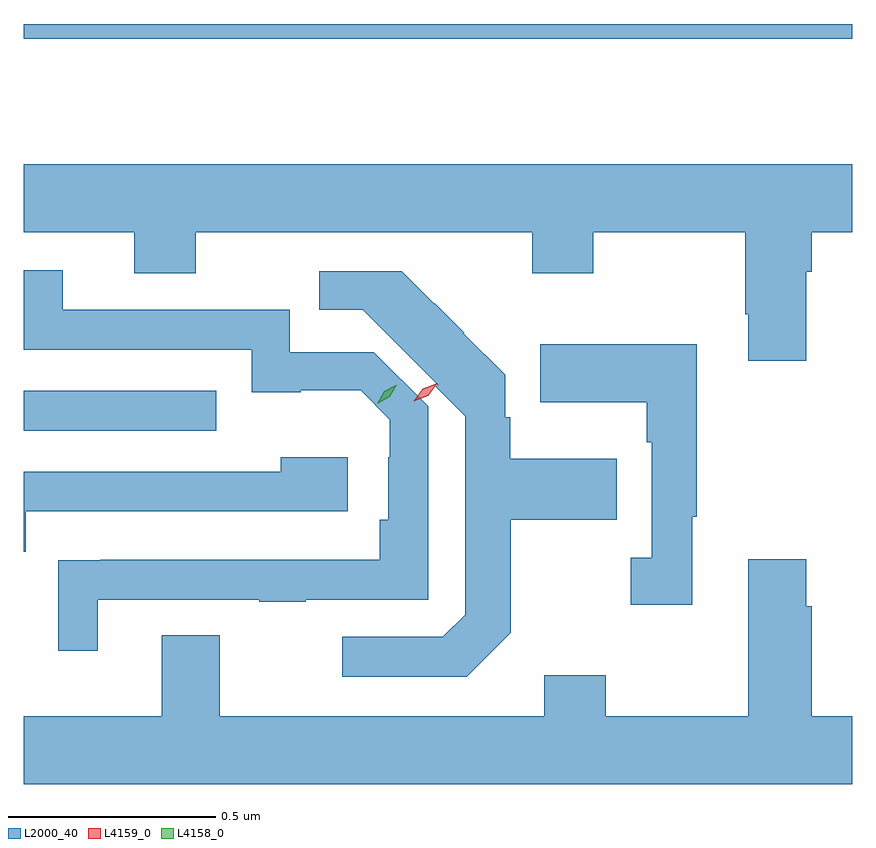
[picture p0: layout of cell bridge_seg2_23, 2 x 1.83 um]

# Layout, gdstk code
import gdstk
lib = gdstk.Library(unit=1e-6, precision=1e-09)
def R(c, l, rs):  # rectangles x0, y0, x1, y1
    for r in rs: c.add(gdstk.rectangle(r[:2], r[2:], *l))
def P(c, l, *ps):  # polygons
    for p in ps: c.add(gdstk.Polygon(p, *l))
L2000_40 = (2000, 40)
L4158_0 = (4158, 0)
L4159_0 = (4159, 0)

bridge_seg2_23 = lib.new_cell('bridge_seg2_23')
R(bridge_seg2_23, L2000_40, [(733.622,616.521,734.087,616.617), (733.622,617.466,735.622,617.502)])
P(bridge_seg2_23, L2000_40, [(735.511,616.904),(735.524,616.904),(735.524,617),(735.622,617),(735.622,617.164),(733.622,617.164),(733.622,617),(733.889,617),(733.889,616.901),(734.037,616.901),(734.037,617),(734.849,617),(734.849,616.901),(734.997,616.901),(734.997,617),(735.364,617),(735.364,616.801),(735.371,616.801),(735.371,616.689),(735.511,616.689)],
  [(733.801,616.113),(734.191,616.113),(734.191,616.108),(734.303,616.108),(734.303,616.113),(734.598,616.113),(734.598,616.579),(734.467,616.71),(734.264,616.71),(734.264,616.812),(733.717,616.812),(733.717,616.908),(733.622,616.908),(733.622,616.716),(734.172,616.716),(734.172,616.613),(734.291,616.613),(734.291,616.618),(734.435,616.618),(734.506,616.547),(734.506,616.457),(734.502,616.457),(734.502,616.306),(734.482,616.306),(734.482,616.209),(733.807,616.209),(733.807,616.208),(733.705,616.208),(733.705,615.99),(733.801,615.99)],
  [(734.797,616.033),(734.797,616.306),(735.053,616.306),(735.053,616.453),(734.796,616.453),(734.796,616.553),(734.784,616.553),(734.784,616.655),(734.683,616.756),(734.685,616.757),(734.614,616.828),(734.613,616.827),(734.535,616.905),(734.336,616.905),(734.336,616.812),(734.44,616.812),(734.621,616.631),(734.617,616.627),(734.688,616.556),(734.688,616.077),(734.634,616.023),(734.391,616.023),(734.391,615.927),(734.691,615.927)],
  [(735.235,616.313),(735.247,616.313),(735.247,616.729),(734.869,616.729),(734.869,616.589),(735.126,616.589),(735.126,616.493),(735.138,616.493),(735.138,616.214),(735.087,616.214),(735.087,616.101),(735.235,616.101)],
  [(733.627,616.326),(734.404,616.326),(734.404,616.456),(734.243,616.456),(734.243,616.422),(733.622,616.422),(733.622,616.229),(733.627,616.229)],
  [(735.622,615.832),(735.524,615.832),(735.524,616.097),(735.511,616.097),(735.511,616.21),(735.371,616.21),(735.371,615.832),(735.027,615.832),(735.027,615.931),(734.879,615.931),(734.879,615.832),(734.095,615.832),(734.095,616.027),(733.955,616.027),(733.955,615.832),(733.622,615.832),(733.622,615.668),(735.622,615.668)])
P(bridge_seg2_23, L4158_0, [(734.476,616.586),(734.476,616.586),(734.492,616.616),(734.523,616.632),(734.523,616.632),(734.523,616.631),(734.506,616.602),(734.476,616.586)])
P(bridge_seg2_23, L4159_0, [(734.563,616.592),(734.563,616.592),(734.585,616.622),(734.62,616.635),(734.62,616.635),(734.62,616.635),(734.598,616.605),(734.563,616.592)])

lib.write_gds('bridge_seg2_23.gds')
